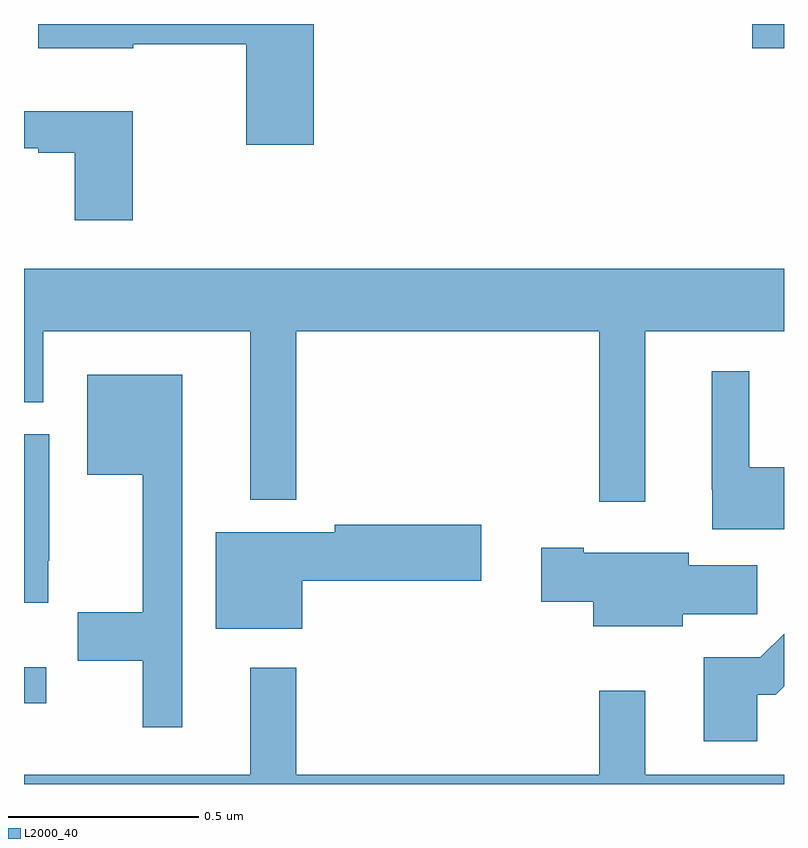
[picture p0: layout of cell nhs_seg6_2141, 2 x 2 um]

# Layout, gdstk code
import gdstk
lib = gdstk.Library(unit=1e-6, precision=1e-09)
def R(c, l, rs):  # rectangles x0, y0, x1, y1
    for r in rs: c.add(gdstk.rectangle(r[:2], r[2:], *l))
def P(c, l, *ps):  # polygons
    for p in ps: c.add(gdstk.Polygon(p, *l))
L2000_40 = (2000, 40)

nhs_seg6_2141 = lib.new_cell('nhs_seg6_2141')
R(nhs_seg6_2141, L2000_40, [(139,923.712,139.058,923.807), (140.916,925.436,141,925.5)])
P(nhs_seg6_2141, L2000_40, [(139.763,925.5),(139.037,925.5),(139.037,925.436),(139.288,925.436),(139.288,925.447),(139.585,925.447),(139.585,925.182),(139.763,925.182)],
  [(139.286,925.27),(139,925.27),(139,925.173),(139.037,925.173),(139.037,925.161),(139.133,925.161),(139.133,924.984),(139.286,924.984)],
  [(140.635,924.692),(141,924.692),(141,924.856),(139,924.856),(139,924.505),(139.051,924.505),(139.051,924.692),(139.595,924.692),(139.595,924.248),(139.717,924.248),(139.717,924.692),(140.514,924.692),(140.514,924.243),(140.635,924.243)],
  [(141,924.334),(140.908,924.334),(140.908,924.586),(140.81,924.586),(140.81,924.274),(140.811,924.274),(140.811,924.17),(141,924.17)],
  [(139.417,924.577),(139.166,924.577),(139.166,924.314),(139.313,924.314),(139.313,923.952),(139.141,923.952),(139.141,923.824),(139.313,923.824),(139.313,923.649),(139.417,923.649)],
  [(139.064,924.088),(139.066,924.088),(139.066,924.42),(139,924.42),(139,923.977),(139.064,923.977)],
  [(139.732,924.035),(140.203,924.035),(140.203,924.182),(139.818,924.182),(139.818,924.163),(139.505,924.163),(139.505,923.909),(139.732,923.909)],
  [(140.734,923.947),(140.929,923.947),(140.929,924.076),(140.749,924.076),(140.749,924.109),(140.473,924.109),(140.473,924.122),(140.361,924.122),(140.361,923.98),(140.498,923.98),(140.498,923.915),(140.734,923.915)],
  [(140.929,923.735),(140.978,923.735),(141,923.757),(141,923.895),(140.938,923.833),(140.789,923.833),(140.789,923.613),(140.929,923.613)],
  [(141,923.524),(140.635,923.524),(140.635,923.746),(140.514,923.746),(140.514,923.524),(139.717,923.524),(139.717,923.806),(139.595,923.806),(139.595,923.524),(139,923.524),(139,923.5),(141,923.5)])

lib.write_gds('nhs_seg6_2141.gds')
